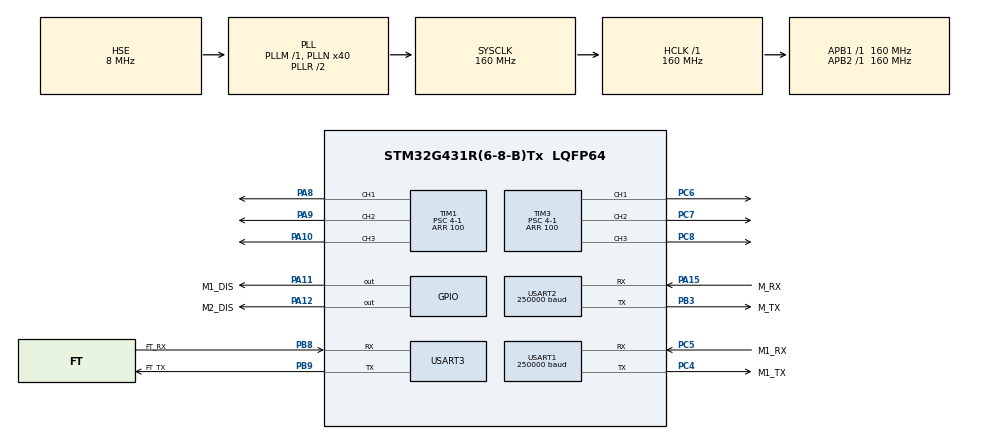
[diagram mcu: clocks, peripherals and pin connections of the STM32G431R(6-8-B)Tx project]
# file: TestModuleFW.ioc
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Dma.Request0=USART1_RX
Dma.Request1=USART2_RX
Dma.USART1_RX.0.Direction=DMA_PERIPH_TO_MEMORY
Dma.USART1_RX.0.EventEnable=DISABLE
Dma.USART1_RX.0.Instance=DMA1_Channel1
Dma.USART1_RX.0.MemDataAlignment=DMA_MDATAALIGN_BYTE
Dma.USART1_RX.0.MemInc=DMA_MINC_ENABLE
Dma.USART1_RX.0.Mode=DMA_CIRCULAR
Dma.USART1_RX.0.PeriphDataAlignment=DMA_PDATAALIGN_BYTE
Dma.USART1_RX.0.PeriphInc=DMA_PINC_DISABLE
Dma.USART1_RX.0.Polarity=HAL_DMAMUX_REQ_GEN_RISING
Dma.USART1_RX.0.Priority=DMA_PRIORITY_VERY_HIGH
Dma.USART1_RX.0.RequestNumber=1
Dma.USART1_RX.0.SignalID=NONE
Dma.USART1_RX.0.SyncEnable=DISABLE
Dma.USART1_RX.0.SyncPolarity=HAL_DMAMUX_SYNC_NO_EVENT
Dma.USART1_RX.0.SyncRequestNumber=1
Dma.USART1_RX.0.SyncSignalID=NONE
Dma.USART2_RX.1.Direction=DMA_PERIPH_TO_MEMORY
Dma.USART2_RX.1.EventEnable=DISABLE
Dma.USART2_RX.1.Instance=DMA1_Channel2
Dma.USART2_RX.1.MemDataAlignment=DMA_MDATAALIGN_BYTE
Dma.USART2_RX.1.MemInc=DMA_MINC_ENABLE
Dma.USART2_RX.1.Mode=DMA_CIRCULAR
Dma.USART2_RX.1.PeriphDataAlignment=DMA_PDATAALIGN_BYTE
Dma.USART2_RX.1.PeriphInc=DMA_PINC_DISABLE
Dma.USART2_RX.1.Polarity=HAL_DMAMUX_REQ_GEN_RISING
Dma.USART2_RX.1.Priority=DMA_PRIORITY_VERY_HIGH
Dma.USART2_RX.1.RequestNumber=1
Dma.USART2_RX.1.SignalID=NONE
Dma.USART2_RX.1.SyncEnable=DISABLE
Dma.USART2_RX.1.SyncPolarity=HAL_DMAMUX_SYNC_NO_EVENT
Dma.USART2_RX.1.SyncRequestNumber=1
Dma.USART2_RX.1.SyncSignalID=NONE
Mcu.Family=STM32G4
Mcu.Name=STM32G431R(6-8-B)Tx
Mcu.Package=LQFP64
NVIC.DMA1_Channel1_IRQn=true\:0\:0\:false\:false\:true\:false\:true\:true
NVIC.DMA1_Channel2_IRQn=true\:0\:0\:false\:false\:true\:false\:true\:true
NVIC.PriorityGroup=NVIC_PRIORITYGROUP_4
NVIC.USART1_IRQn=true\:0\:0\:false\:false\:true\:true\:true\:true
NVIC.USART2_IRQn=true\:0\:0\:false\:false\:true\:true\:true\:true
NVIC.USART3_IRQn=true\:0\:0\:false\:false\:true\:true\:true\:true
PA10.Signal=S_TIM1_CH3
PA11.GPIO_Label=M1_DIS
PA11.PinState=GPIO_PIN_SET
PA11.Signal=GPIO_Output
PA12.GPIO_Label=M2_DIS
PA12.PinState=GPIO_PIN_SET
PA12.Signal=GPIO_Output
PA13.Mode=Serial_Wire
PA13.Signal=SYS_JTMS-SWDIO
PA14.Mode=Serial_Wire
PA14.Signal=SYS_JTCK-SWCLK
PA15.GPIO_Label=M_RX
PA15.Mode=Asynchronous
PA15.Signal=USART2_RX
PA8.Signal=S_TIM1_CH1
PA9.Signal=S_TIM1_CH2
PB3.GPIO_Label=M_TX
PB3.Mode=Asynchronous
PB3.Signal=USART2_TX
PB8-BOOT0.GPIO_Label=FT_RX
PB8-BOOT0.Mode=Asynchronous
PB8-BOOT0.Signal=USART3_RX
PB9.GPIO_Label=FT_TX
PB9.Mode=Asynchronous
PB9.Signal=USART3_TX
PC4.GPIO_Label=M1_TX
PC4.Mode=Asynchronous
PC4.Signal=USART1_TX
PC5.GPIO_Label=M1_RX
PC5.Mode=Asynchronous
PC5.Signal=USART1_RX
PC6.Signal=S_TIM3_CH1
PC7.Signal=S_TIM3_CH2
PC8.Signal=S_TIM3_CH3
PF0-OSC_IN.Mode=HSE-External-Oscillator
PF0-OSC_IN.Signal=RCC_OSC_IN
PF1-OSC_OUT.Mode=HSE-External-Oscillator
PF1-OSC_OUT.Signal=RCC_OSC_OUT
ProjectManager.HeapSize=0x200
ProjectManager.StackSize=0x400
ProjectManager.TargetToolchain=STM32CubeIDE
RCC.ADC12Freq_Value=160000000
RCC.AHBFreq_Value=160000000
RCC.APB1Freq_Value=160000000
RCC.APB1TimFreq_Value=160000000
RCC.APB2Freq_Value=160000000
RCC.APB2TimFreq_Value=160000000
RCC.CortexFreq_Value=160000000
RCC.EXTERNAL_CLOCK_VALUE=12288000
RCC.HCLKFreq_Value=160000000
RCC.HSE_VALUE=8000000
RCC.HSI48_VALUE=48000000
RCC.HSI_VALUE=16000000
RCC.LSE_VALUE=32768
RCC.PLLN=40
RCC.PLLSourceVirtual=RCC_PLLSOURCE_HSE
RCC.SYSCLKFreq_VALUE=160000000
RCC.SYSCLKSource=RCC_SYSCLKSOURCE_PLLCLK
RCC.USBFreq_Value=160000000
RCC.VCOOutputFreq_Value=320000000
SH.S_TIM1_CH1.0=TIM1_CH1,PWM Generation1 CH1
SH.S_TIM1_CH2.0=TIM1_CH2,PWM Generation2 CH2
SH.S_TIM1_CH3.0=TIM1_CH3,PWM Generation3 CH3
SH.S_TIM3_CH1.0=TIM3_CH1,PWM Generation1 CH1
SH.S_TIM3_CH2.0=TIM3_CH2,PWM Generation2 CH2
SH.S_TIM3_CH3.0=TIM3_CH3,PWM Generation3 CH3
TIM1.Channel-PWM\ Generation1\ CH1=TIM_CHANNEL_1
TIM1.Channel-PWM\ Generation2\ CH2=TIM_CHANNEL_2
TIM1.Channel-PWM\ Generation3\ CH3=TIM_CHANNEL_3
TIM1.PeriodNoDither=100
TIM1.Prescaler=4-1
TIM1.PulseNoDither_1=25
TIM1.PulseNoDither_2=50
TIM1.PulseNoDither_3=75
TIM3.Channel-PWM\ Generation1\ CH1=TIM_CHANNEL_1
TIM3.Channel-PWM\ Generation2\ CH2=TIM_CHANNEL_2
TIM3.Channel-PWM\ Generation3\ CH3=TIM_CHANNEL_3
TIM3.PeriodNoDither=100
TIM3.Prescaler=4-1
TIM3.PulseNoDither_1=50
TIM3.PulseNoDither_2=50
TIM3.PulseNoDither_3=50
USART1.BaudRate=250000
USART1.VirtualMode-Asynchronous=VM_ASYNC
USART2.BaudRate=250000
USART2.VirtualMode-Asynchronous=VM_ASYNC
USART3.VirtualMode-Asynchronous=VM_ASYNC
VP_CRC_VS_CRC.Mode=CRC_Activate
VP_SYS_VS_DBSignals.Mode=DisableDeadBatterySignals
VP_TIM1_VS_ClockSourceINT.Mode=Internal
board=custom

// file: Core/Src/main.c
/* USER CODE BEGIN Header */
/**
  ******************************************************************************
  * @file           : main.c
  * @brief          : Main program body
  ******************************************************************************
  * @attention
  *
  * Copyright (c) 2023 STMicroelectronics.
  * All rights reserved.
  *
  * This software is licensed under terms that can be found in the LICENSE file
  * in the root directory of this software component.
  * If no LICENSE file comes with this software, it is provided AS-IS.
  *
  ******************************************************************************
  */
/* USER CODE END Header */
#include "main.h"

/* USER CODE BEGIN Includes */
#include <stdio.h>
#include <string.h>
#include <stdbool.h>
#include "power-module.h"
/* USER CODE END Includes */

/* USER CODE BEGIN PTD */
#include "PWM_Handler.h"
/* USER CODE END PTD */

/* USER CODE BEGIN PD */
#include "uart-escape.h"
/* USER CODE END PD */

CRC_HandleTypeDef hcrc;

TIM_HandleTypeDef htim1;
TIM_HandleTypeDef htim3;

UART_HandleTypeDef huart1;
UART_HandleTypeDef huart2;
UART_HandleTypeDef huart3;
DMA_HandleTypeDef hdma_usart1_rx;
DMA_HandleTypeDef hdma_usart2_rx;

/* USER CODE BEGIN PV */
void pm_process_rx_message(size_t ind, uint8_t* message_p, size_t length, uint32_t time_stamp);
/* USER CODE END PV */

void SystemClock_Config(void);
static void MX_GPIO_Init(void);
static void MX_DMA_Init(void);
static void MX_USART1_UART_Init(void);
static void MX_USART2_UART_Init(void);
static void MX_USART3_UART_Init(void);
static void MX_TIM1_Init(void);
static void MX_TIM3_Init(void);
static void MX_CRC_Init(void);
/* USER CODE BEGIN PFP */
#ifdef __GNUC__
/* With GCC/RAISONANCE, small printf (option LD Linker->Libraries->Small printf
   set to 'Yes') calls __io_putchar() */
#define PUTCHAR_PROTOTYPE int __io_putchar(int ch)
#else
#define PUTCHAR_PROTOTYPE int fputc(int ch, FILE *f)
#endif /* __GNUC__ */

PUTCHAR_PROTOTYPE
{
  /* Place your implementation of fputc here */
  /* e.g. write a character to the USART1 and Loop until the end of transmission */
  HAL_UART_Transmit(&huart3, (uint8_t *)&ch, 1, 0xFFFF);

  return ch;
}
/* USER CODE END PFP */

/* USER CODE BEGIN 0 */

#define NUM_CMD    40
#define UNK_CMD    NUM_CMD + 1
#define R_CMD      13
#define SH_CMD     14

enum
{
   SET_A1 = 1,
   SET_A2,
   SET_A3,
   SET_B1,
   SET_B2,
   SET_B3,
   ON_A1,
   ON_A2,
   ON_A3,
   ON_B1,
   ON_B2,
   ON_B3,
   OFF_A1,
   OFF_A2,
   OFF_A3,
   OFF_B1,
   OFF_B2,
   OFF_B3,
   DIS_M1,
   DIS_M2,
   EN_M1,
   EN_M2,
   G_PARAM1,
   G_PARAM2,
   SW1_ON,
   SW2_ON,
   SW1_OFF,
   SW2_OFF,
   ON1,
   ON2,
   OFF1,
   OFF2,
   SET1_I,
   SET1_T,
   SET2_I,
   SET2_T,
   RESTART1,
   RESTART2,
   EN1_FUSE,
   EN2_FUSE
};
const char listCMD[NUM_CMD][10] =
		{ "pwmA1", "pwmA2", "pwmA3", "pwmB1","pwmB2","pwmB3",
		  "onA1", "onA2", "onA3", "onB1", "onB2", "onB3",
		  "offA1", "offA2", "offA3", "offB1", "offB2", "offB3",
		  "disM1", "disM2","EnM1", "EnM2", "getParam1", "getParam2", "sw1On", "sw2On",
		  "sw1Off", "sw2Off","on1", "on2", "off1", "off2", "set1curr", "set1time","set2curr", "set2time", "restart1", "restart2",
		  "enFuse1",  "enFuse2"};
typedef struct
{
	char rxByte;
	char rxBuff[256];
	uint8_t rxCntBuff;
} t_UART_Data;

t_UART_Data UART_Data;
uint8_t rxByte;
uint8_t numCMD;
int i;

#define MAX_LEN  10
uint32_t getVal = 0;

uint8_t rxByteM1;
uint8_t rxByteM2;

typedef struct
{
	char rxByte;
	char rxBuff[256];
	uint8_t rxCntBuff;
	uint8_t timeoutCnt;
	uint8_t getPacket;
} t_M_UART_Data;

t_M_UART_Data  M_UART_Data1;
t_M_UART_Data  M_UART_Data2;

uint8_t rxDataBuf[250];
uint8_t rxDataBufRd[250];
uint8_t getPk1 = false;

uint8_t rxDataBuf2[250];
uint8_t rxDataBufRd2[250];
uint8_t getPk2 = false;

struct fuse_rd_data_s
{
	bool  on_off_state;
	bool  on_protection_state;
	bool  enabled;
	float protection_current;
	float protection_time;
	float module_current;
	bool  data_valid;
	uint32_t id_uC;
};

struct pm_rx_error_counters_s {
	volatile uint32_t ringbuf_overflow;
	volatile uint32_t decoder_overflow;
	volatile uint32_t decoder_invalid_ch;
	volatile uint32_t msg_too_short;
	volatile uint32_t msg_crc;
	volatile uint32_t msg_format;
	volatile uint32_t msg_type_unknown;
};

struct fuse_rd_data_s fuse_rd_data[2] = {0};
struct Measurements pm_measurements[2];
struct pm_status_flags pm_current_status_flags[2];
static volatile struct pm_rx_error_counters_s pm_rx_error_stats[2] = {0};

void HAL_UART_RxCpltCallback(UART_HandleTypeDef *huart)
{
	if (huart->Instance == USART1)
	{
		if(M_UART_Data1.getPacket == false)
		{
			if(M_UART_Data1.rxCntBuff == 0)
			{
				if(rxByteM1 == 'C')
				{
					M_UART_Data1.rxBuff[M_UART_Data1.rxCntBuff] = rxByteM1;
					M_UART_Data1.rxCntBuff ++;
				}
			}
			else
			{
				M_UART_Data1.rxBuff[M_UART_Data1.rxCntBuff] = rxByteM1;
				M_UART_Data1.rxCntBuff ++;
			}
		}
		M_UART_Data1.timeoutCnt =0;
		HAL_UART_Receive_IT(&huart1,  &rxByteM1, 1);
	}
	if (huart->Instance == USART2)
	{
		if(M_UART_Data2.getPacket == false)
		{
			if(M_UART_Data2.rxCntBuff == 0)
			{
				if(rxByteM2 == 'C')
				{
					M_UART_Data2.rxBuff[M_UART_Data2.rxCntBuff] = rxByteM2;
					M_UART_Data2.rxCntBuff ++;
				}
			}
			else
			{
				M_UART_Data1.rxBuff[M_UART_Data2.rxCntBuff] = rxByteM2;
				M_UART_Data1.rxCntBuff ++;
			}
		}
		M_UART_Data2.timeoutCnt =0;
		HAL_UART_Receive_IT(&huart2,  &rxByteM2, 1);
	}
	if (huart->Instance == USART3)
	{
		if (rxByte == '\n')
		{
			numCMD = 0;
			for (i = 0; i < NUM_CMD; i++)
			{
				if (strstr((char*)&UART_Data.rxBuff[0], (char*) &listCMD[i][0])!= 0)
				{
					numCMD = i + 1;

				    for(uint8_t pos_val = 0; pos_val < MAX_LEN; pos_val++)
				    {
				      if(UART_Data.rxBuff[pos_val] == 0x20)
				      {
				    	  pos_val++;
				    	  getVal = atoi((uint8_t*)&UART_Data.rxBuff[pos_val]);
				    	  break;
				      }
				    }
					break;
				}
			}
			if(numCMD == 0)
			{
				numCMD = 0xFF;
			}
			memset((char*) &UART_Data, 0x00, sizeof(UART_Data));
		}
		else
		{
			//if(rxByte != '\r')
			{
			  UART_Data.rxBuff[UART_Data.rxCntBuff] = rxByte;
			  UART_Data.rxCntBuff++;
			}
		}
		HAL_UART_Receive_IT(&huart3,  &rxByte, 1);
	}
}

uint8_t  startCntUART1 = 0, startCntUART2 =0;
uint32_t timeOutUART1 = 0, timeOutUART2 = 0;

void CountersHandler (void)
{
	M_UART_Data1.timeoutCnt++;
	M_UART_Data2.timeoutCnt++;

	if(startCntUART1)
	{
		timeOutUART1++;
	}

	if(startCntUART2)
	{
		timeOutUART2++;
	}
}

#define TIMEOUT_PKT  15
uint8_t rxBuff[128];
uint8_t rxBuffHandl[128];
uint8_t rxCount;

#define UART_TX_BUFFER_LEN 64
uint8_t uart_tx_buffer[UART_TX_BUFFER_LEN];
#define UART_RX_BUFFER_LEN 64
uint8_t uart_rx_buffers[2][UART_RX_BUFFER_LEN];
volatile uint8_t* uart_receiving_buffer = uart_rx_buffers[0];
volatile uint8_t* uart_processing_buffer = uart_rx_buffers[1];
size_t uart_rx_buffer_i = 0;
volatile size_t uart_processing_buffer_length = 0;

volatile bool uart_processing_buffer_full = false;
volatile bool uart_rx_ongoing = false;
#define INVERT(V) ((uint8_t)(~(V)))

bool switch_state[2] = {false, false};
bool fuse_state[2] = {false, false};
bool save_param[2] = {false, false};

void ReceiveHandler (void)
{
     int cnt =0;

     if(hdma_usart1_rx.Instance->CNDTR != 0)
     {
    	 if(startCntUART1 == 0)
    	 {
    		 timeOutUART1 =0;
    		 startCntUART1 = 1;
    	 }
    	 else if(timeOutUART1 > 100)
         {
    		 HAL_UART_DMAStop(&huart1);
    		 HAL_UART_Receive_DMA (&huart1, (uint8_t*)&rxDataBuf[0], 217);
    		 timeOutUART1 =0;
    	     startCntUART1 = 0;
         }
     }

     if(hdma_usart2_rx.Instance->CNDTR != 0)
     {
    	 if(startCntUART2 == 0)
    	 {
    		 timeOutUART2 =0;
    	     startCntUART2 = 1;
    	 }
    	 else if(timeOutUART2 > 100)
    	 {
    		 HAL_UART_DMAStop(&huart2);
    		 HAL_UART_Receive_DMA (&huart2, (uint8_t*)&rxDataBuf2[0], 217);
    		 timeOutUART2 =0;
    		 startCntUART2 = 0;
    	 }
     }

	 if(getPk1 == true)// if(M_UART_Data1.timeoutCnt > TIMEOUT_PKT)
	 {
		  //M_UART_Data1.getPacket = true;
		  for(; cnt < 250; cnt++ )
		  {
		     if(rxDataBufRd[cnt] == UART_ESCAPE_SOT)
		     {
		    	break;
		     }
		     //cnt++;
		  }
		  while(1)
		  {
				 rxCount = 0;
				 uint8_t packetReady = 0;

				 memset((uint8_t*)&rxBuff[0], 0x00, sizeof(rxBuff));
				 for(; cnt < 250; cnt ++ )
				 {
					 switch(rxDataBufRd[cnt])
					 {
					   case UART_ESCAPE_SOT: break;
					   case UART_ESCAPE_CHAR:
							{
								cnt++;
								rxBuff[rxCount] = INVERT(rxDataBufRd[cnt]);
								rxCount++;
							}
					   break;
					   case UART_ESCAPE_EOT:  packetReady= 1; break;
					   default:
						   rxBuff[rxCount] = rxDataBufRd[cnt];
						   rxCount++;
					   break;
					 }

					 if(packetReady)
					 {
						 pm_process_rx_message(0, (uint8_t*)&rxBuff[0], rxCount, 0xFFFFFFFF);
						 break;
					 }
				 }
				 cnt++;
				 if(rxDataBufRd[cnt] != UART_ESCAPE_SOT)
				 {
					   break;
				 }

			}

		    memset((uint8_t*)&rxDataBufRd[0], 0x00, sizeof(rxDataBufRd));
		    //M_UART_Data1.rxCntBuff = 0;
		    //M_UART_Data1.getPacket = 0;
		    getPk1 = false;
	 }

	 cnt =0;

	 if(getPk2 == true)// if(M_UART_Data1.timeoutCnt > TIMEOUT_PKT)
	 {
		  //M_UART_Data1.getPacket = true;
		  for(; cnt < 250; cnt++ )
		  {
		     if(rxDataBufRd2[cnt] == UART_ESCAPE_SOT)
		     {
		    	break;
		     }
		     //cnt++;
		  }
		  while(1)
		  {
				 rxCount = 0;
				 uint8_t packetReady = 0;

				 memset((uint8_t*)&rxBuff[0], 0x00, sizeof(rxBuff));
				 for(; cnt < 250; cnt ++ )
				 {
					 switch(rxDataBufRd2[cnt])
					 {
					   case UART_ESCAPE_SOT: break;
					   case UART_ESCAPE_CHAR:
							{
								cnt++;
								rxBuff[rxCount] = INVERT(rxDataBufRd2[cnt]);
								rxCount++;
							}
					   break;
					   case UART_ESCAPE_EOT:  packetReady= 1; break;
					   default:
						   rxBuff[rxCount] = rxDataBufRd2[cnt];
						   rxCount++;
					   break;
					 }

					 if(packetReady)
					 {
						 pm_process_rx_message(1, (uint8_t*)&rxBuff[0], rxCount, 0xFFFFFFFF);
						 break;
					 }
				 }
				 cnt++;
				 if(rxDataBufRd2[cnt] != UART_ESCAPE_SOT)
				 {
					   break;
				 }

			}

		    memset((uint8_t*)&rxDataBufRd2[0], 0x00, sizeof(rxDataBufRd2));
		    //M_UART_Data1.rxCntBuff = 0;
		    //M_UART_Data1.getPacket = 0;
		    getPk2 = false;
	 }

}

void SendRsp( char *str)
{
	HAL_UART_Transmit(&huart3, (uint8_t*)str, strlen((char*)str), 100);
	HAL_UART_Transmit(&huart3, (uint8_t*)"\n", 2, 100);
}

void PrintParam (uint8_t ind)
{
	char tempStr[250] = {0x00};

	sprintf(tempStr, " Param%d\n V_HB1 %.2f\n V_OUTA %.2f\n V_OUTB %.2f\n NTC_A %.2f\n NTC_B %.2f\n T_UC %.2f\n fON_OFF_State %d\n ON_PrState %d\n fEnabled: %d\n fProtectionCurrent: %.0f\n fProtectionTime: %.0f\n moduleCurrent: %.2f\n",
			ind +1,
			pm_measurements[ind].V_HB_1,
			pm_measurements[ind].V_OUT_A,
	        pm_measurements[ind].V_OUT_B,
	        pm_measurements[ind].T_NTC_A,
	        pm_measurements[ind].T_NTC_B,
		    pm_measurements[ind].T_UC,
            pm_measurements[ind].fuseON_OFF_State,
	        pm_measurements[ind].fuseON_ProtectionState,
	        pm_measurements[ind].fuseEnabled,
	        pm_measurements[ind].fuseProtectionCurrent,
	        pm_measurements[ind].fuseProtectionTime,
        	pm_measurements[ind].moduleCurrent);
	SendRsp(tempStr);
	memset((char*)&pm_measurements,0x00, sizeof(pm_measurements));

}

uint8_t getPWM_Val( uint32_t *getPWM_Val)
{

  if(getVal > 100)
  {
	  SendRsp("Value must be 0..100 ");
	  return 0;
  }

   *getPWM_Val = getVal;
   return 1;
}

uint8_t getFuse_I( uint32_t *getFuseI_Val)
{

  if(getVal > 50)
  {
	  SendRsp("Value must be 0..50 ");
	  return 0;
  }

   *getFuseI_Val = getVal;
   return 1;
}

uint8_t getFuse_T( uint32_t *getFuseI_Val)
{

  if(getVal > 1000)
  {
	  SendRsp("Value must be 0..1000 ");
	  return 0;
  }

   *getFuseI_Val = getVal;
   return 1;
}

uint32_t setVal = 0;
bool savePrtCurr[2] = {false};
bool saveTime[2] = {false};
bool saveEn[2] = {false};
bool restartFuse[2] = {false};
float protetionCurr [2] = {0};
float protectionTime[2] = {0};
uint8_t protectionEn[2] = {0};

void CMD_Handler(void)
{
	if(numCMD == 0)
	{
		return;
	}
    char tempStr[128]= {0};
	switch(numCMD)
	{
	   case SET_A1:
		   if( getPWM_Val(&setVal))
		   {
			   Dis_M1();
			   Dis_M2();
			   HAL_Delay(1);
			   Off_A2 ();
			   Off_A3 ();
			   Set_A3_PWM(0);
			   Set_A2_PWM(0);
			   Set_A1_PWM(setVal);
			   sprintf(tempStr,"Set PWM A1 to %d \n", setVal );
			   SendRsp(tempStr);
			   On_A1 ();
			   HAL_Delay(1);
			   En_M1();
			   En_M2();
		   }
	   break;

	   case	SET_A2:
		   if( getPWM_Val(&setVal))
		   {
			   Dis_M1();
			   Dis_M2();
			   HAL_Delay(1);
			   Off_A1 ();
			   Off_A3 ();
			   Set_A3_PWM(0);
			   Set_A1_PWM(0);
		  	   Set_A2_PWM(setVal);
		  	   sprintf(tempStr, "Set PWM A2 to %d \n", setVal );
		  	   SendRsp(tempStr);
		  	   On_A2 ();
		  	   HAL_Delay(1);
		  	   En_M1();
		  	   En_M2();

		   }
	   break;

	   case SET_A3:
		   if( getPWM_Val(&setVal))
		   {
			    Dis_M1();
			    Dis_M2();
			  	HAL_Delay(1);
			    Off_A1 ();
			    Off_A2 ();
			    Set_A1_PWM(0);
			    Set_A2_PWM(0);
		     	Set_A3_PWM(setVal);
		   		sprintf(tempStr, "Set PWM A3 to %d \n", setVal );
		   		SendRsp(tempStr);
		   		On_A3 ();
		   		HAL_Delay(1);
                En_M1();
		   		En_M2();
		   }
	   break;
	   case	SET_B1:
		   if( getPWM_Val(&setVal))
		    {
			    Dis_M1();
			    Dis_M2();
			  	HAL_Delay(1);

			    Off_B2 ();
			    Off_B3 ();
			    Set_B2_PWM(0);
			    Set_B3_PWM(0);
			    Set_B1_PWM(setVal);
		   		sprintf(tempStr, "Set PWM B1 to %d \n", setVal );
		   		SendRsp(tempStr);
		   		On_B1 ();
		   		HAL_Delay(1);
                En_M1();
		   		En_M2();
		    }
	   break;
	   case	SET_B2:
		   if( getPWM_Val(&setVal))
		    {
			    Dis_M1();
			  	Dis_M2();
			  	HAL_Delay(1);
			    Off_B1 ();
			    Off_B3 ();
			    Set_B1_PWM(0);
			  	Set_B3_PWM(0);
		   		Set_B2_PWM(setVal);
		   		sprintf(tempStr, "Set PWM B2 to %d \n", setVal );
		   		SendRsp(tempStr);
		   		On_B2 ();
		   		HAL_Delay(1);
                En_M1();
		   		En_M2();
		    }
	   break;
	   case	SET_B3:
		   if( getPWM_Val(&setVal))
		    {
			    Dis_M1();
			  	Dis_M2();
			  	HAL_Delay(1);
			    Off_B1 ();
			    Off_B2 ();
			    Set_B1_PWM(0);
			  	Set_B2_PWM(0);
		   		Set_B3_PWM(setVal);
		   		sprintf(tempStr, "Set PWM B3 to %d \n", setVal );
		   		SendRsp(tempStr);
		   		On_B3 ();
		   		HAL_Delay(1);
                En_M1();
		   		En_M2();
		    }
	   break;
	   case	ON_A1:

		    On_A1();
		    SendRsp("ON PWM A1");
	   break;
	   case	ON_A2:
		   On_A2();
		   SendRsp("ON PWM A2");
	   break;
	   case	ON_A3:

		   On_A3();
		   SendRsp("ON PWM A3");
	   break;
	   case	ON_B1:
		   On_B1();
		   SendRsp("ON PWM B1");

	   break;
	   case	ON_B2:
	   		On_B2();
	   		SendRsp("ON PWM B2");

	   break;
	   case	ON_B3:
	   	   	On_B3();
	   	   	SendRsp("ON PWM B3");
	   break;
	   case	OFF_A1:
		   Off_A1();
		   SendRsp("OFF A1");
	   break;
	   case	OFF_A2:
		   Off_A2();
		   SendRsp("OFF A2");
	   break;
	   case	OFF_A3:
		   Off_A3();
		   SendRsp("OFF A3");
	   break;
	   case	OFF_B1:
		    Off_B1();
		    SendRsp("OFF B1");
	   break;
	   case	OFF_B2:
	   		Off_B2();
	   		SendRsp("OFF B2");
	   break;
	   case	OFF_B3:
	   	   	Off_B3();
	   	   	SendRsp("OFF B3");
	   break;
	   case	DIS_M1:
		   Dis_M1();
		   SendRsp("DIS M1");
	   break;
	   case DIS_M2:
		   Dis_M2();
		   SendRsp("DIS M2");
	   break;
	   case EN_M1:
		   En_M1();
		   SendRsp("EN M1");
	   break;
	   case	EN_M2:
		   En_M2();
		   SendRsp("EN M2");
	   break;
	   case G_PARAM1:
		    PrintParam(0);
	   break;
	   case G_PARAM2:
		    PrintParam(1);
	   break;
	   case  SW1_ON:
		   switch_state[0] = true;
		   SendRsp("SW1 is ON");
	   break;
	   case SW2_ON:
		   switch_state[1] = true;
		   SendRsp("SW2 is ON");
	   break;
	   case SW1_OFF:
		   switch_state[0] = false;
		   SendRsp("SW1 is OFF");
	   break;
	   case SW2_OFF:
		   switch_state[1] = false;
		   SendRsp("SW1 is OFF");
	   break;
	   case ON1:
		       fuse_state[0] = true;
		       save_param[0] = true;
	  		   SendRsp("FUSE 1 is ON");
	  	   break;
	   case ON2:
		       fuse_state[1] = true;
		   	   save_param[1] = true;
	  		   SendRsp("FUSE 2 is ON");
	  	   break;
	   case OFF1:
		       fuse_state[0] = false;
		   	   save_param[0] = true;
	  		   SendRsp("FUSE 1 is OFF");
	  	   break;
	   case OFF2:
		       fuse_state[1] = false;
		   	   save_param[1] = true;
	  		   SendRsp("FUSE 2 is OFF");
	   break;

	   case SET1_I:
		        if( getFuse_I(&setVal))
		        {
		        	protetionCurr[0] = setVal;
		        	savePrtCurr[0] = true;;
		        	sprintf(tempStr, "Set Protection Current M1  to %d \n",  setVal);
		        	SendRsp(tempStr);
		        }
	   break;
	   case SET1_T:
		        if(getFuse_T(&setVal))
		        {
		        	protectionTime[0] =  setVal;
                    saveTime[0] = true;
                    sprintf(tempStr, "Set Protection Time M1  to %d \n",  setVal);
                    SendRsp(tempStr);
		        }
	   break;
	   case SET2_I:
		          if( getFuse_I(&setVal))
				  {
				     protetionCurr[1] = setVal;
				     savePrtCurr[1] = true;
				     sprintf(tempStr, "Set Protection Current M2  to %d \n",  setVal);
                     SendRsp(tempStr);
				  }
	   break;
	   case SET2_T:
		           if(getFuse_T(&setVal))
		   		   {
		   		      protectionTime[1] =  setVal;
		              saveTime[1] = true;
		              sprintf(tempStr, "Set Protection Time M2  to %d \n",  setVal);
		              SendRsp(tempStr);
		   		   }

	   break;
	   case EN1_FUSE:
		    protectionEn[0] =  1;
		 	saveEn[0] = true;
		 	sprintf(tempStr, "Set Protection Enale M1 \n");
		 	SendRsp(tempStr);

	   break;
	   case EN2_FUSE:
		    protectionEn[1] =  1;
		   	saveEn[1] = true;
		   	sprintf(tempStr, "Set Protection Enale M2 \n");
		   	SendRsp(tempStr);
	   break;
	   case RESTART1:
             restartFuse[0] = true;
             SendRsp("Restart fuse M1");
	   break;
	   case RESTART2:
		     restartFuse[1] = true;
		     SendRsp("Restart fuse M2");
	   break;
	   default:     SendRsp("Wrong CMD"); break;
	}

	numCMD = 0;
}

/*struct pm_request_messages {
	/// set true to request a 'Measurements' message
	bool measurements;
	/// request only binary fault and status flags
	bool flags;
	// added YS

	bool  fuseRestart;
	bool  fuseParamSave;
	bool  fuseON_OFF;
	bool  fuseEN;
	float fuseProtectionCurrent;
	float fuseProtectionTime;
};*/

#define PM_MAX_UART_MSG_LEN	128
uint8_t tx_buf[PM_MAX_UART_MSG_LEN];
void SendReq (void)
{
	uint8_t msg_len = 0;
	struct pm_request_messages req = {.flags = true, .measurements = false}; // org

	req.fuseRestart = 0;// fuse_set_data[ind].fuseRestart;
	req.fuseParamSave = 0;//fuse_set_data[ind].fuseParamSave;
	req.fuseON_OFF = pm_measurements[0].fuseON_OFF_State; //fuse_set_data[ind].fuseON_OFF;
	req.fuseEN = pm_measurements[0].fuseEnabled;//fuse_set_data[ind].fuseEN;
	req.fuseProtectionCurrent = pm_measurements[0].fuseProtectionCurrent;// fuse_set_data[ind].fuseProtectionCurrent;
	req.fuseProtectionTime = pm_measurements[0].fuseProtectionTime; //fuse_set_data[ind].fuseProtectionTime;

	if(restartFuse[0])
	{
		req.fuseRestart = true;
		restartFuse[0] = false;
	}

	if(save_param[0])
	{
		req.fuseON_OFF = fuse_state[0];
		save_param[0] = false;
		req.fuseParamSave = true;

	}

	if(savePrtCurr[0])
	{
		req.fuseProtectionCurrent = protetionCurr[0];
		savePrtCurr[0] = false;
		req.fuseParamSave = true;
	}
	if(saveTime[0])
	{
		req.fuseProtectionTime = protectionTime[0];
		saveTime[0] = false;
		req.fuseParamSave = true;
	}

	if(saveEn[0])
	{
		req.fuseEN = saveEn[0];
		saveEn[0] = false;
		req.fuseParamSave = true;
	}

	msg_len = pm_request_messages_encode(&req, &tx_buf[0], PM_MAX_UART_MSG_LEN);
	HAL_UART_Transmit(&huart1, (uint8_t*)&tx_buf[0], msg_len, 100);
	if(req.fuseParamSave == true)
	{
		HAL_Delay(500);
	}
	HAL_Delay(50);

	req.fuseRestart = 0;// fuse_set_data[ind].fuseRestart;
	req.fuseParamSave = 0;//fuse_set_data[ind].fuseParamSave;
	req.fuseON_OFF = pm_measurements[1].fuseON_OFF_State; //fuse_set_data[ind].fuseON_OFF;
	req.fuseEN = pm_measurements[1].fuseEnabled;//fuse_set_data[ind].fuseEN;
	req.fuseProtectionCurrent = pm_measurements[1].fuseProtectionCurrent;// fuse_set_data[ind].fuseProtectionCurrent;
	req.fuseProtectionTime = pm_measurements[1].fuseProtectionTime; //fuse_set_data[ind].fuseProtectionTime;

	if(restartFuse[1])
	{
		req.fuseRestart = true;
		restartFuse[1] = false;
	}

	if(save_param[1] == true)
    {
		req.fuseON_OFF = fuse_state[1];
		req.fuseParamSave = true;
		save_param[1] = false;
	}

	if(savePrtCurr[1])
	{
		req.fuseProtectionCurrent = protetionCurr[1];
		savePrtCurr[1] = false;
		req.fuseParamSave = true;
	}
	if(saveTime[1])
	{
		req.fuseProtectionTime = protectionTime[1];
		saveTime[1] = false;
		req.fuseParamSave = true;
	}

	if(saveEn[1])
	{
		req.fuseEN = saveEn[1];
		saveEn[1] = false;
		req.fuseParamSave = true;
	}
	msg_len = pm_request_messages_encode(&req, &tx_buf[0], PM_MAX_UART_MSG_LEN);
    HAL_UART_Transmit(&huart2, (uint8_t*)&tx_buf[0], msg_len, 100);

	HAL_Delay(50);
	if(req.fuseParamSave == true)
	{
		HAL_Delay(500);

	}

	struct pm_control control_data;
	if(switch_state[0])
	{
		control_data.zcd = false;
		control_data.powerswitch = true;
		control_data.clear_fault = false;
	}
	else
	{
		control_data.zcd = false;
		control_data.powerswitch = false;
		control_data.clear_fault = false;
	}

	msg_len = pm_control_encode(&control_data, (uint8_t*)&tx_buf[0], PM_MAX_UART_MSG_LEN);
	HAL_UART_Transmit(&huart1, (uint8_t*)&tx_buf[0], msg_len, 100);
	HAL_Delay(50);
	if(switch_state[1])
	{
		control_data.zcd = false;
		control_data.powerswitch = true;
		control_data.clear_fault = false;
	}
	else
	{
		control_data.zcd = false;
		control_data.powerswitch = false;
		control_data.clear_fault = false;
	}

	msg_len = pm_control_encode(&control_data, (uint8_t*)&tx_buf[0], PM_MAX_UART_MSG_LEN);
	HAL_UART_Transmit(&huart2, (uint8_t*)&tx_buf[0], msg_len, 100);
	HAL_Delay(50);

}

uint32_t calculate_crc(const uint8_t *msg, size_t len){
	uint32_t crc = HAL_CRC_Calculate(&hcrc, (uint32_t *)msg, len);
	return crc;
}

 void pm_process_rx_message(size_t ind, uint8_t* message_p, size_t length, uint32_t time_stamp)
{
	//printf("%s: found msg with len = %zu\n", __func__, length);
	//pm_print_message(message_p, length);

	// ignore messages that are too short (we have at least 4 bytes of CRC)
	if (length < 4) {
		pm_rx_error_stats[ind].msg_too_short++;
		return;
	}

	enum pm_msg_type msg_type = 0;
	enum INTERFACE_STATUS result;
	// decode the message header
	cw_unpack_context cw_ctx;
	result = pm_decode_start(&msg_type, &cw_ctx, (void*)message_p, length);

	if (result == INTERFACE_STATUS_CRC_INVALID) {
		pm_rx_error_stats[ind].msg_crc++;
	}

	if (result == INTERFACE_STATUS_MSG_MALFORMED) {
		pm_rx_error_stats[ind].msg_format++;
	}

	if (result != INTERFACE_STATUS_OK) {
		//printf("%s: module %d: pm_decode_start error %d\n", __func__, (int)ind+1, (int)result);
		//pm_print_message(message_p, length);
		return;
	}

	switch (msg_type) {
		case PM_MT_MEASUREMENT: {
			struct Measurements meas;
			result = pm_measurement_decode(&meas, &cw_ctx);
			if (result == INTERFACE_STATUS_OK) {
				pm_measurements[ind] = meas;

				fuse_rd_data[ind].data_valid = true;
				fuse_rd_data[ind].on_protection_state = meas.fuseON_ProtectionState;
				fuse_rd_data[ind].enabled = meas.fuseEnabled;
				fuse_rd_data[ind].module_current =  meas.moduleCurrent;
				fuse_rd_data[ind].on_off_state = meas.fuseON_OFF_State;
				fuse_rd_data[ind].protection_current = meas.fuseProtectionCurrent;
				fuse_rd_data[ind].protection_time = meas.fuseProtectionTime;
				fuse_rd_data[ind].id_uC = meas.id_uc;

				/*if(printParam[ind])
				{
					//for( int i = 0; i < 8; i++)
					if(fuse_rd_data[ind].data_valid )
					{
						printf("Fuse %d: EN %d, ON_State %d, ProtectionState %d,  Current %.0f, Time %.0f,  valid %d, read_current %.2f,\n",
										  (ind +1), fuse_rd_data[ind].enabled,
										  fuse_rd_data[ind].on_off_state, fuse_rd_data[ind].on_protection_state,
										  fuse_rd_data[ind].protection_current, fuse_rd_data[ind].protection_time,
										  fuse_rd_data[ind].data_valid, fuse_rd_data[ind].module_current);
						printParam[ind] = false;
					}

				}*/

				//pm_meas_timestamp[ind] = time_stamp;
			} else {
				//printf("%s: module %d: pm_measurement_decode error %d\n", __func__, (int)ind+1, (int)result);
				pm_rx_error_stats[ind].msg_format++;
			}
			break;
		}

		case PM_MT_STATUS_FLAGS: {
			struct pm_status_flags flags;
			result = pm_status_flags_decode(&flags, &cw_ctx);
			if (result == INTERFACE_STATUS_OK) {
				pm_current_status_flags[ind] = flags;
				//pm_status_timestamps[ind] = time_stamp;
			} else {
				//printf("%s: module %d: pm_status_flags_decode error %d\n", __func__, (int)ind+1, (int)result);
				pm_rx_error_stats[ind].msg_format++;
			}
			break;
		}

		default: {
			//printf("%s: module %d: received message with unknown type %d\n", __func__, (int)ind+1, (int)msg_type);
			pm_rx_error_stats[ind].msg_type_unknown++;
			break;
		}
	}
}

/* USER CODE END 0 */

int main(void)
{

  /* MCU Configuration--------------------------------------------------------*/

  /* Reset of all peripherals, Initializes the Flash interface and the Systick. */
  HAL_Init();

  /* Configure the system clock */
  SystemClock_Config();

  /* Initialize all configured peripherals */
  MX_GPIO_Init();
  MX_DMA_Init();
  MX_USART1_UART_Init();
  MX_USART2_UART_Init();
  MX_USART3_UART_Init();
  MX_TIM1_Init();
  MX_TIM3_Init();
  MX_CRC_Init();
  /* USER CODE BEGIN 2 */
  HAL_UART_Receive_IT(&huart3, &rxByte, 1);
  HAL_UART_Receive_DMA (&huart1, (uint8_t*)&rxDataBuf[0], 217);
  HAL_UART_Receive_DMA (&huart2, (uint8_t*)&rxDataBuf2[0], 217);
  //HAL_UART_Receive_IT(&huart1, &rxByteM1, 1);
  //HAL_UART_Receive_IT(&huart2, &rxByteM2, 1);

 /* HAL_TIM_PWM_Start(&htim1, TIM_CHANNEL_1);
  HAL_TIM_PWM_Start(&htim1, TIM_CHANNEL_2);
  HAL_TIM_PWM_Start(&htim1, TIM_CHANNEL_3);
  HAL_TIM_PWM_Start(&htim3, TIM_CHANNEL_1);
  HAL_TIM_PWM_Start(&htim3, TIM_CHANNEL_2);
  HAL_TIM_PWM_Start(&htim3, TIM_CHANNEL_3);*/
  /* USER CODE END 2 */

  /* Infinite loop */
  while (1)
  {

    /* USER CODE BEGIN 3 */
	  CMD_Handler();
	  SendReq ();
	  ReceiveHandler ();
  }
  /* USER CODE END 3 */
}

void SystemClock_Config(void)
{
  RCC_OscInitTypeDef RCC_OscInitStruct = {0};
  RCC_ClkInitTypeDef RCC_ClkInitStruct = {0};

  /** Configure the main internal regulator output voltage
  */
  HAL_PWREx_ControlVoltageScaling(PWR_REGULATOR_VOLTAGE_SCALE1_BOOST);

  /** Initializes the RCC Oscillators according to the specified parameters
  * in the RCC_OscInitTypeDef structure.
  */
  RCC_OscInitStruct.OscillatorType = RCC_OSCILLATORTYPE_HSE;
  RCC_OscInitStruct.HSEState = RCC_HSE_ON;
  RCC_OscInitStruct.PLL.PLLState = RCC_PLL_ON;
  RCC_OscInitStruct.PLL.PLLSource = RCC_PLLSOURCE_HSE;
  RCC_OscInitStruct.PLL.PLLM = RCC_PLLM_DIV1;
  RCC_OscInitStruct.PLL.PLLN = 40;
  RCC_OscInitStruct.PLL.PLLP = RCC_PLLP_DIV2;
  RCC_OscInitStruct.PLL.PLLQ = RCC_PLLQ_DIV2;
  RCC_OscInitStruct.PLL.PLLR = RCC_PLLR_DIV2;
  if (HAL_RCC_OscConfig(&RCC_OscInitStruct) != HAL_OK)
  {
    Error_Handler();
  }

  /** Initializes the CPU, AHB and APB buses clocks
  */
  RCC_ClkInitStruct.ClockType = RCC_CLOCKTYPE_HCLK|RCC_CLOCKTYPE_SYSCLK
                              |RCC_CLOCKTYPE_PCLK1|RCC_CLOCKTYPE_PCLK2;
  RCC_ClkInitStruct.SYSCLKSource = RCC_SYSCLKSOURCE_PLLCLK;
  RCC_ClkInitStruct.AHBCLKDivider = RCC_SYSCLK_DIV1;
  RCC_ClkInitStruct.APB1CLKDivider = RCC_HCLK_DIV1;
  RCC_ClkInitStruct.APB2CLKDivider = RCC_HCLK_DIV1;

  if (HAL_RCC_ClockConfig(&RCC_ClkInitStruct, FLASH_LATENCY_4) != HAL_OK)
  {
    Error_Handler();
  }
}

static void MX_CRC_Init(void)
{

  hcrc.Instance = CRC;
  hcrc.Init.DefaultPolynomialUse = DEFAULT_POLYNOMIAL_ENABLE;
  hcrc.Init.DefaultInitValueUse = DEFAULT_INIT_VALUE_ENABLE;
  hcrc.Init.InputDataInversionMode = CRC_INPUTDATA_INVERSION_NONE;
  hcrc.Init.OutputDataInversionMode = CRC_OUTPUTDATA_INVERSION_DISABLE;
  hcrc.InputDataFormat = CRC_INPUTDATA_FORMAT_BYTES;
  if (HAL_CRC_Init(&hcrc) != HAL_OK)
  {
    Error_Handler();
  }

}

static void MX_TIM1_Init(void)
{

  TIM_ClockConfigTypeDef sClockSourceConfig = {0};
  TIM_MasterConfigTypeDef sMasterConfig = {0};
  TIM_OC_InitTypeDef sConfigOC = {0};
  TIM_BreakDeadTimeConfigTypeDef sBreakDeadTimeConfig = {0};

  htim1.Instance = TIM1;
  htim1.Init.Prescaler = 4-1;
  htim1.Init.CounterMode = TIM_COUNTERMODE_UP;
  htim1.Init.Period = 100;
  htim1.Init.ClockDivision = TIM_CLOCKDIVISION_DIV1;
  htim1.Init.RepetitionCounter = 0;
  htim1.Init.AutoReloadPreload = TIM_AUTORELOAD_PRELOAD_DISABLE;
  if (HAL_TIM_Base_Init(&htim1) != HAL_OK)
  {
    Error_Handler();
  }
  sClockSourceConfig.ClockSource = TIM_CLOCKSOURCE_INTERNAL;
  if (HAL_TIM_ConfigClockSource(&htim1, &sClockSourceConfig) != HAL_OK)
  {
    Error_Handler();
  }
  if (HAL_TIM_PWM_Init(&htim1) != HAL_OK)
  {
    Error_Handler();
  }
  sMasterConfig.MasterOutputTrigger = TIM_TRGO_RESET;
  sMasterConfig.MasterOutputTrigger2 = TIM_TRGO2_RESET;
  sMasterConfig.MasterSlaveMode = TIM_MASTERSLAVEMODE_DISABLE;
  if (HAL_TIMEx_MasterConfigSynchronization(&htim1, &sMasterConfig) != HAL_OK)
  {
    Error_Handler();
  }
  sConfigOC.OCMode = TIM_OCMODE_PWM1;
  sConfigOC.Pulse = 25;
  sConfigOC.OCPolarity = TIM_OCPOLARITY_HIGH;
  sConfigOC.OCNPolarity = TIM_OCNPOLARITY_HIGH;
  sConfigOC.OCFastMode = TIM_OCFAST_DISABLE;
  sConfigOC.OCIdleState = TIM_OCIDLESTATE_RESET;
  sConfigOC.OCNIdleState = TIM_OCNIDLESTATE_RESET;
  if (HAL_TIM_PWM_ConfigChannel(&htim1, &sConfigOC, TIM_CHANNEL_1) != HAL_OK)
  {
    Error_Handler();
  }
  sConfigOC.Pulse = 50;
  if (HAL_TIM_PWM_ConfigChannel(&htim1, &sConfigOC, TIM_CHANNEL_2) != HAL_OK)
  {
    Error_Handler();
  }
  sConfigOC.Pulse = 75;
  if (HAL_TIM_PWM_ConfigChannel(&htim1, &sConfigOC, TIM_CHANNEL_3) != HAL_OK)
  {
    Error_Handler();
  }
  sBreakDeadTimeConfig.OffStateRunMode = TIM_OSSR_DISABLE;
  sBreakDeadTimeConfig.OffStateIDLEMode = TIM_OSSI_DISABLE;
  sBreakDeadTimeConfig.LockLevel = TIM_LOCKLEVEL_OFF;
  sBreakDeadTimeConfig.DeadTime = 0;
  sBreakDeadTimeConfig.BreakState = TIM_BREAK_DISABLE;
  sBreakDeadTimeConfig.BreakPolarity = TIM_BREAKPOLARITY_HIGH;
  sBreakDeadTimeConfig.BreakFilter = 0;
  sBreakDeadTimeConfig.BreakAFMode = TIM_BREAK_AFMODE_INPUT;
  sBreakDeadTimeConfig.Break2State = TIM_BREAK2_DISABLE;
  sBreakDeadTimeConfig.Break2Polarity = TIM_BREAK2POLARITY_HIGH;
  sBreakDeadTimeConfig.Break2Filter = 0;
  sBreakDeadTimeConfig.Break2AFMode = TIM_BREAK_AFMODE_INPUT;
  sBreakDeadTimeConfig.AutomaticOutput = TIM_AUTOMATICOUTPUT_DISABLE;
  if (HAL_TIMEx_ConfigBreakDeadTime(&htim1, &sBreakDeadTimeConfig) != HAL_OK)
  {
    Error_Handler();
  }
  HAL_TIM_MspPostInit(&htim1);

}

static void MX_TIM3_Init(void)
{

  TIM_MasterConfigTypeDef sMasterConfig = {0};
  TIM_OC_InitTypeDef sConfigOC = {0};

  htim3.Instance = TIM3;
  htim3.Init.Prescaler = 4-1;
  htim3.Init.CounterMode = TIM_COUNTERMODE_UP;
  htim3.Init.Period = 100;
  htim3.Init.ClockDivision = TIM_CLOCKDIVISION_DIV1;
  htim3.Init.AutoReloadPreload = TIM_AUTORELOAD_PRELOAD_DISABLE;
  if (HAL_TIM_PWM_Init(&htim3) != HAL_OK)
  {
    Error_Handler();
  }
  sMasterConfig.MasterOutputTrigger = TIM_TRGO_RESET;
  sMasterConfig.MasterSlaveMode = TIM_MASTERSLAVEMODE_DISABLE;
  if (HAL_TIMEx_MasterConfigSynchronization(&htim3, &sMasterConfig) != HAL_OK)
  {
    Error_Handler();
  }
  sConfigOC.OCMode = TIM_OCMODE_PWM1;
  sConfigOC.Pulse = 50;
  sConfigOC.OCPolarity = TIM_OCPOLARITY_HIGH;
  sConfigOC.OCFastMode = TIM_OCFAST_DISABLE;
  if (HAL_TIM_PWM_ConfigChannel(&htim3, &sConfigOC, TIM_CHANNEL_1) != HAL_OK)
  {
    Error_Handler();
  }
  if (HAL_TIM_PWM_ConfigChannel(&htim3, &sConfigOC, TIM_CHANNEL_2) != HAL_OK)
  {
    Error_Handler();
  }
  if (HAL_TIM_PWM_ConfigChannel(&htim3, &sConfigOC, TIM_CHANNEL_3) != HAL_OK)
  {
    Error_Handler();
  }
  HAL_TIM_MspPostInit(&htim3);

}

static void MX_USART1_UART_Init(void)
{

  huart1.Instance = USART1;
  huart1.Init.BaudRate = 250000;
  huart1.Init.WordLength = UART_WORDLENGTH_8B;
  huart1.Init.StopBits = UART_STOPBITS_1;
  huart1.Init.Parity = UART_PARITY_NONE;
  huart1.Init.Mode = UART_MODE_TX_RX;
  huart1.Init.HwFlowCtl = UART_HWCONTROL_NONE;
  huart1.Init.OverSampling = UART_OVERSAMPLING_16;
  huart1.Init.OneBitSampling = UART_ONE_BIT_SAMPLE_DISABLE;
  huart1.Init.ClockPrescaler = UART_PRESCALER_DIV1;
  huart1.AdvancedInit.AdvFeatureInit = UART_ADVFEATURE_NO_INIT;
  if (HAL_UART_Init(&huart1) != HAL_OK)
  {
    Error_Handler();
  }
  if (HAL_UARTEx_SetTxFifoThreshold(&huart1, UART_TXFIFO_THRESHOLD_1_8) != HAL_OK)
  {
    Error_Handler();
  }
  if (HAL_UARTEx_SetRxFifoThreshold(&huart1, UART_RXFIFO_THRESHOLD_1_8) != HAL_OK)
  {
    Error_Handler();
  }
  if (HAL_UARTEx_DisableFifoMode(&huart1) != HAL_OK)
  {
    Error_Handler();
  }

}

static void MX_USART2_UART_Init(void)
{

  huart2.Instance = USART2;
  huart2.Init.BaudRate = 250000;
  huart2.Init.WordLength = UART_WORDLENGTH_8B;
  huart2.Init.StopBits = UART_STOPBITS_1;
  huart2.Init.Parity = UART_PARITY_NONE;
  huart2.Init.Mode = UART_MODE_TX_RX;
  huart2.Init.HwFlowCtl = UART_HWCONTROL_NONE;
  huart2.Init.OverSampling = UART_OVERSAMPLING_16;
  huart2.Init.OneBitSampling = UART_ONE_BIT_SAMPLE_DISABLE;
  huart2.Init.ClockPrescaler = UART_PRESCALER_DIV1;
  huart2.AdvancedInit.AdvFeatureInit = UART_ADVFEATURE_NO_INIT;
  if (HAL_UART_Init(&huart2) != HAL_OK)
  {
    Error_Handler();
  }
  if (HAL_UARTEx_SetTxFifoThreshold(&huart2, UART_TXFIFO_THRESHOLD_1_8) != HAL_OK)
  {
    Error_Handler();
  }
  if (HAL_UARTEx_SetRxFifoThreshold(&huart2, UART_RXFIFO_THRESHOLD_1_8) != HAL_OK)
  {
    Error_Handler();
  }
  if (HAL_UARTEx_DisableFifoMode(&huart2) != HAL_OK)
  {
    Error_Handler();
  }

}

static void MX_USART3_UART_Init(void)
{

  huart3.Instance = USART3;
  huart3.Init.BaudRate = 115200;
  huart3.Init.WordLength = UART_WORDLENGTH_8B;
  huart3.Init.StopBits = UART_STOPBITS_1;
  huart3.Init.Parity = UART_PARITY_NONE;
  huart3.Init.Mode = UART_MODE_TX_RX;
  huart3.Init.HwFlowCtl = UART_HWCONTROL_NONE;
  huart3.Init.OverSampling = UART_OVERSAMPLING_16;
  huart3.Init.OneBitSampling = UART_ONE_BIT_SAMPLE_DISABLE;
  huart3.Init.ClockPrescaler = UART_PRESCALER_DIV1;
  huart3.AdvancedInit.AdvFeatureInit = UART_ADVFEATURE_NO_INIT;
  if (HAL_UART_Init(&huart3) != HAL_OK)
  {
    Error_Handler();
  }
  if (HAL_UARTEx_SetTxFifoThreshold(&huart3, UART_TXFIFO_THRESHOLD_1_8) != HAL_OK)
  {
    Error_Handler();
  }
  if (HAL_UARTEx_SetRxFifoThreshold(&huart3, UART_RXFIFO_THRESHOLD_1_8) != HAL_OK)
  {
    Error_Handler();
  }
  if (HAL_UARTEx_DisableFifoMode(&huart3) != HAL_OK)
  {
    Error_Handler();
  }

}

static void MX_DMA_Init(void)
{

  /* DMA controller clock enable */
  __HAL_RCC_DMAMUX1_CLK_ENABLE();
  __HAL_RCC_DMA1_CLK_ENABLE();

  /* DMA interrupt init */
  /* DMA1_Channel1_IRQn interrupt configuration */
  HAL_NVIC_SetPriority(DMA1_Channel1_IRQn, 0, 0);
  HAL_NVIC_EnableIRQ(DMA1_Channel1_IRQn);
  /* DMA1_Channel2_IRQn interrupt configuration */
  HAL_NVIC_SetPriority(DMA1_Channel2_IRQn, 0, 0);
  HAL_NVIC_EnableIRQ(DMA1_Channel2_IRQn);

}

static void MX_GPIO_Init(void)
{
  GPIO_InitTypeDef GPIO_InitStruct = {0};

  /* GPIO Ports Clock Enable */
  __HAL_RCC_GPIOF_CLK_ENABLE();
  __HAL_RCC_GPIOC_CLK_ENABLE();
  __HAL_RCC_GPIOA_CLK_ENABLE();
  __HAL_RCC_GPIOB_CLK_ENABLE();

  /*Configure GPIO pin Output Level */
  HAL_GPIO_WritePin(GPIOA, M1_DIS_Pin|M2_DIS_Pin, GPIO_PIN_SET);

  /*Configure GPIO pins : M1_DIS_Pin M2_DIS_Pin */
  GPIO_InitStruct.Pin = M1_DIS_Pin|M2_DIS_Pin;
  GPIO_InitStruct.Mode = GPIO_MODE_OUTPUT_PP;
  GPIO_InitStruct.Pull = GPIO_NOPULL;
  GPIO_InitStruct.Speed = GPIO_SPEED_FREQ_LOW;
  HAL_GPIO_Init(GPIOA, &GPIO_InitStruct);

}

void Error_Handler(void)
{
  __disable_irq();
  while (1)
  {
  }
}
